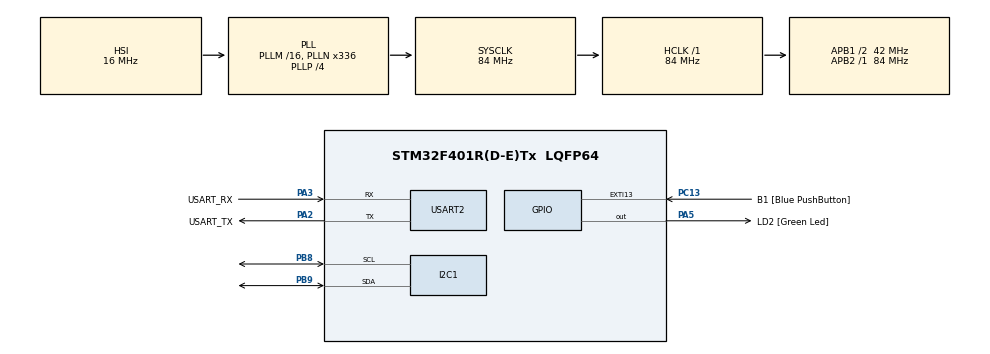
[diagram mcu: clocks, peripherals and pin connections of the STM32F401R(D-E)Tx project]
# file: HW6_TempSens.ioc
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Mcu.Family=STM32F4
Mcu.Name=STM32F401R(D-E)Tx
Mcu.Package=LQFP64
NVIC.PriorityGroup=NVIC_PRIORITYGROUP_0
NVIC.TIM2_IRQn=true\:0\:0\:false\:false\:true\:true\:true\:true
PA13.GPIO_Label=TMS
PA13.Mode=Serial_Wire
PA13.Signal=SYS_JTMS-SWDIO
PA14.GPIO_Label=TCK
PA14.Mode=Serial_Wire
PA14.Signal=SYS_JTCK-SWCLK
PA2.GPIO_Label=USART_TX
PA2.GPIO_Mode=GPIO_MODE_AF_PP
PA2.GPIO_PuPd=GPIO_NOPULL
PA2.GPIO_Speed=GPIO_SPEED_FREQ_LOW
PA2.Mode=Asynchronous
PA2.Signal=USART2_TX
PA3.GPIO_Label=USART_RX
PA3.GPIO_Mode=GPIO_MODE_AF_PP
PA3.GPIO_PuPd=GPIO_NOPULL
PA3.GPIO_Speed=GPIO_SPEED_FREQ_LOW
PA3.Mode=Asynchronous
PA3.Signal=USART2_RX
PA5.GPIO_Label=LD2 [Green Led]
PA5.GPIO_Mode=GPIO_MODE_OUTPUT_PP
PA5.GPIO_PuPd=GPIO_NOPULL
PA5.GPIO_Speed=GPIO_SPEED_FREQ_LOW
PA5.Signal=GPIO_Output
PB3.GPIO_Label=SWO
PB3.Signal=SYS_JTDO-SWO
PB8.Mode=I2C
PB8.Signal=I2C1_SCL
PB9.Mode=I2C
PB9.Signal=I2C1_SDA
PC13-ANTI_TAMP.GPIO_Label=B1 [Blue PushButton]
PC13-ANTI_TAMP.GPIO_ModeDefaultEXTI=GPIO_MODE_IT_FALLING
PC13-ANTI_TAMP.GPIO_PuPd=GPIO_NOPULL
PC13-ANTI_TAMP.Signal=GPXTI13
PC14-OSC32_IN.Mode=LSE-External-Oscillator
PC14-OSC32_IN.Signal=RCC_OSC32_IN
PC15-OSC32_OUT.Mode=LSE-External-Oscillator
PC15-OSC32_OUT.Signal=RCC_OSC32_OUT
PH0\ -\ OSC_IN.Mode=HSE-External-Clock-Source
PH0\ -\ OSC_IN.Signal=RCC_OSC_IN
PH1\ -\ OSC_OUT.Mode=HSE-External-Clock-Source
PH1\ -\ OSC_OUT.Signal=RCC_OSC_OUT
ProjectManager.HeapSize=0x200
ProjectManager.StackSize=0x400
ProjectManager.TargetToolchain=STM32CubeIDE
RCC.48MHZClocksFreq_Value=48000000
RCC.AHBFreq_Value=84000000
RCC.APB1CLKDivider=RCC_HCLK_DIV2
RCC.APB1Freq_Value=42000000
RCC.APB1TimFreq_Value=84000000
RCC.APB2Freq_Value=84000000
RCC.APB2TimFreq_Value=84000000
RCC.CortexFreq_Value=84000000
RCC.HCLKFreq_Value=84000000
RCC.HSE_VALUE=8000000
RCC.HSI_VALUE=16000000
RCC.PLLN=336
RCC.PLLP=RCC_PLLP_DIV4
RCC.PLLQ=7
RCC.SYSCLKFreq_VALUE=84000000
RCC.SYSCLKSource=RCC_SYSCLKSOURCE_PLLCLK
RCC.VCOOutputFreq_Value=336000000
TIM2.Period=10000-1
TIM2.Prescaler=8400-1
USART2.VirtualMode=VM_ASYNC
VP_TIM2_VS_ClockSourceINT.Mode=Internal
board=NUCLEO-F401RE

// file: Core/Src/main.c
/* USER CODE BEGIN Header */
/**
  ******************************************************************************
  * @file           : main.c
  * @brief          : Main program body
  ******************************************************************************
  * @attention
  *
  * Copyright (c) 2022 STMicroelectronics.
  * All rights reserved.
  *
  * This software is licensed under terms that can be found in the LICENSE file
  * in the root directory of this software component.
  * If no LICENSE file comes with this software, it is provided AS-IS.
  *
  ******************************************************************************
  */
/* USER CODE END Header */
#include "main.h"

/* USER CODE BEGIN Includes */
#include "stdio.h"
/* USER CODE END Includes */

I2C_HandleTypeDef hi2c1;

TIM_HandleTypeDef htim2;

UART_HandleTypeDef huart2;

/* USER CODE BEGIN PV */

//device addrest left shifted by 1
uint8_t address = 0b10010000;

//temp register address
uint8_t temp_addr = 0x00;

/* USER CODE END PV */

void SystemClock_Config(void);
static void MX_GPIO_Init(void);
static void MX_USART2_UART_Init(void);
static void MX_I2C1_Init(void);
static void MX_TIM2_Init(void);

/* USER CODE BEGIN 0 */

void HAL_TIM_PeriodElapsedCallback(TIM_HandleTypeDef *htim){
	if(htim == &htim2){

		int8_t Temp[2];
		float result;
		int len = 0;
		char str[32];

		if(HAL_I2C_Master_Receive(&hi2c1, address, (uint8_t*)Temp, 2, 20) == HAL_OK){

			//to get the floating part, since 3 bit out of 8 are used we divide by 32 (2^5), which
			//is equivalent to a 5 bit shift
			result = (float)Temp[0] + (float)(Temp[1])/32 * 0.125;
			len = snprintf(str, sizeof(str), "Temperature: %f Degrees\r\n", result);

		}else{
			len = snprintf(str, sizeof(str), "Error reading from LM75\r\n");
		}

		HAL_UART_Transmit(&huart2, (uint8_t*)str, len, 100);
		HAL_TIM_Base_Start_IT(&htim2);
}
}

/* USER CODE END 0 */

int main(void)
{

  /* MCU Configuration--------------------------------------------------------*/

  /* Reset of all peripherals, Initializes the Flash interface and the Systick. */
  HAL_Init();

  /* Configure the system clock */
  SystemClock_Config();

  /* Initialize all configured peripherals */
  MX_GPIO_Init();
  MX_USART2_UART_Init();
  MX_I2C1_Init();
  MX_TIM2_Init();
  /* USER CODE BEGIN 2 */

  HAL_TIM_Base_Start_IT(&htim2);
  HAL_I2C_Master_Transmit(&hi2c1, address, &temp_addr, 1, 10);

  /* USER CODE END 2 */

  /* Infinite loop */
  while (1)
  {

  }
}

void SystemClock_Config(void)
{
  RCC_OscInitTypeDef RCC_OscInitStruct = {0};
  RCC_ClkInitTypeDef RCC_ClkInitStruct = {0};

  /** Configure the main internal regulator output voltage
  */
  __HAL_RCC_PWR_CLK_ENABLE();
  __HAL_PWR_VOLTAGESCALING_CONFIG(PWR_REGULATOR_VOLTAGE_SCALE2);

  /** Initializes the RCC Oscillators according to the specified parameters
  * in the RCC_OscInitTypeDef structure.
  */
  RCC_OscInitStruct.OscillatorType = RCC_OSCILLATORTYPE_HSI;
  RCC_OscInitStruct.HSIState = RCC_HSI_ON;
  RCC_OscInitStruct.HSICalibrationValue = RCC_HSICALIBRATION_DEFAULT;
  RCC_OscInitStruct.PLL.PLLState = RCC_PLL_ON;
  RCC_OscInitStruct.PLL.PLLSource = RCC_PLLSOURCE_HSI;
  RCC_OscInitStruct.PLL.PLLM = 16;
  RCC_OscInitStruct.PLL.PLLN = 336;
  RCC_OscInitStruct.PLL.PLLP = RCC_PLLP_DIV4;
  RCC_OscInitStruct.PLL.PLLQ = 7;
  if (HAL_RCC_OscConfig(&RCC_OscInitStruct) != HAL_OK)
  {
    Error_Handler();
  }

  /** Initializes the CPU, AHB and APB buses clocks
  */
  RCC_ClkInitStruct.ClockType = RCC_CLOCKTYPE_HCLK|RCC_CLOCKTYPE_SYSCLK
                              |RCC_CLOCKTYPE_PCLK1|RCC_CLOCKTYPE_PCLK2;
  RCC_ClkInitStruct.SYSCLKSource = RCC_SYSCLKSOURCE_PLLCLK;
  RCC_ClkInitStruct.AHBCLKDivider = RCC_SYSCLK_DIV1;
  RCC_ClkInitStruct.APB1CLKDivider = RCC_HCLK_DIV2;
  RCC_ClkInitStruct.APB2CLKDivider = RCC_HCLK_DIV1;

  if (HAL_RCC_ClockConfig(&RCC_ClkInitStruct, FLASH_LATENCY_2) != HAL_OK)
  {
    Error_Handler();
  }
}

static void MX_I2C1_Init(void)
{

  hi2c1.Instance = I2C1;
  hi2c1.Init.ClockSpeed = 100000;
  hi2c1.Init.DutyCycle = I2C_DUTYCYCLE_2;
  hi2c1.Init.OwnAddress1 = 0;
  hi2c1.Init.AddressingMode = I2C_ADDRESSINGMODE_7BIT;
  hi2c1.Init.DualAddressMode = I2C_DUALADDRESS_DISABLE;
  hi2c1.Init.OwnAddress2 = 0;
  hi2c1.Init.GeneralCallMode = I2C_GENERALCALL_DISABLE;
  hi2c1.Init.NoStretchMode = I2C_NOSTRETCH_DISABLE;
  if (HAL_I2C_Init(&hi2c1) != HAL_OK)
  {
    Error_Handler();
  }

}

static void MX_TIM2_Init(void)
{

  TIM_ClockConfigTypeDef sClockSourceConfig = {0};
  TIM_MasterConfigTypeDef sMasterConfig = {0};

  htim2.Instance = TIM2;
  htim2.Init.Prescaler = 8400-1;
  htim2.Init.CounterMode = TIM_COUNTERMODE_UP;
  htim2.Init.Period = 10000-1;
  htim2.Init.ClockDivision = TIM_CLOCKDIVISION_DIV1;
  htim2.Init.AutoReloadPreload = TIM_AUTORELOAD_PRELOAD_DISABLE;
  if (HAL_TIM_Base_Init(&htim2) != HAL_OK)
  {
    Error_Handler();
  }
  sClockSourceConfig.ClockSource = TIM_CLOCKSOURCE_INTERNAL;
  if (HAL_TIM_ConfigClockSource(&htim2, &sClockSourceConfig) != HAL_OK)
  {
    Error_Handler();
  }
  sMasterConfig.MasterOutputTrigger = TIM_TRGO_RESET;
  sMasterConfig.MasterSlaveMode = TIM_MASTERSLAVEMODE_DISABLE;
  if (HAL_TIMEx_MasterConfigSynchronization(&htim2, &sMasterConfig) != HAL_OK)
  {
    Error_Handler();
  }

}

static void MX_USART2_UART_Init(void)
{

  huart2.Instance = USART2;
  huart2.Init.BaudRate = 115200;
  huart2.Init.WordLength = UART_WORDLENGTH_8B;
  huart2.Init.StopBits = UART_STOPBITS_1;
  huart2.Init.Parity = UART_PARITY_NONE;
  huart2.Init.Mode = UART_MODE_TX_RX;
  huart2.Init.HwFlowCtl = UART_HWCONTROL_NONE;
  huart2.Init.OverSampling = UART_OVERSAMPLING_16;
  if (HAL_UART_Init(&huart2) != HAL_OK)
  {
    Error_Handler();
  }

}

static void MX_GPIO_Init(void)
{
  GPIO_InitTypeDef GPIO_InitStruct = {0};

  /* GPIO Ports Clock Enable */
  __HAL_RCC_GPIOC_CLK_ENABLE();
  __HAL_RCC_GPIOH_CLK_ENABLE();
  __HAL_RCC_GPIOA_CLK_ENABLE();
  __HAL_RCC_GPIOB_CLK_ENABLE();

  /*Configure GPIO pin Output Level */
  HAL_GPIO_WritePin(LD2_GPIO_Port, LD2_Pin, GPIO_PIN_RESET);

  /*Configure GPIO pin : B1_Pin */
  GPIO_InitStruct.Pin = B1_Pin;
  GPIO_InitStruct.Mode = GPIO_MODE_IT_FALLING;
  GPIO_InitStruct.Pull = GPIO_NOPULL;
  HAL_GPIO_Init(B1_GPIO_Port, &GPIO_InitStruct);

  /*Configure GPIO pin : LD2_Pin */
  GPIO_InitStruct.Pin = LD2_Pin;
  GPIO_InitStruct.Mode = GPIO_MODE_OUTPUT_PP;
  GPIO_InitStruct.Pull = GPIO_NOPULL;
  GPIO_InitStruct.Speed = GPIO_SPEED_FREQ_LOW;
  HAL_GPIO_Init(LD2_GPIO_Port, &GPIO_InitStruct);

}

void Error_Handler(void)
{
  __disable_irq();
  while (1)
  {
  }
}
